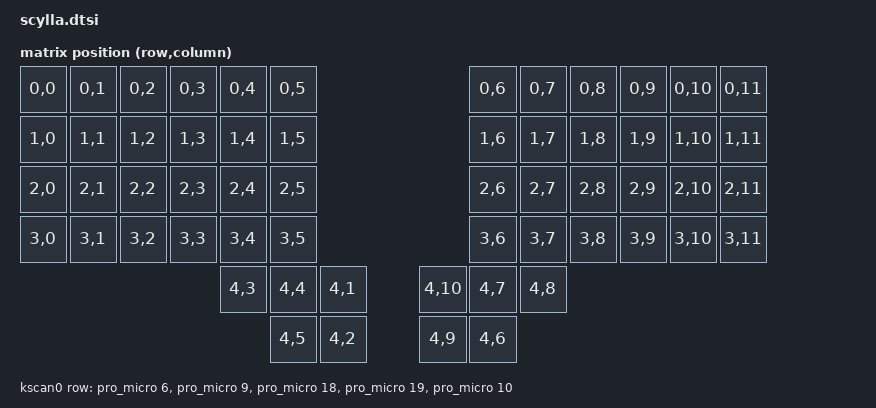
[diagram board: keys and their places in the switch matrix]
/*
 * Copyright (c) 2022 Christian Eiden
 *
 * SPDX-License-Identifier: MIT
 */

#include <dt-bindings/zmk/matrix_transform.h>
#include <physical_layouts.dtsi>

/ {

    chosen {
        zmk,kscan = &kscan0;
        zmk,physical-layout = &physical_layout0;
    };

    physical_layout0: physical_layout_0 {
        compatible = "zmk,physical-layout";
        display-name = "Scylla";

        kscan = <&kscan0>;
        transform = <&keymap_transform0>;

        keys  //                     w   h    x    y     rot    rx    ry
            = <&key_physical_attrs 100 100    0    0       0     0     0>
            , <&key_physical_attrs 100 100  100    0       0     0     0>
            , <&key_physical_attrs 100 100  200    0       0     0     0>
            , <&key_physical_attrs 100 100  300    0       0     0     0>
            , <&key_physical_attrs 100 100  400    0       0     0     0>
            , <&key_physical_attrs 100 100  500    0       0     0     0>
            , <&key_physical_attrs 100 100  900    0       0     0     0>
            , <&key_physical_attrs 100 100 1000    0       0     0     0>
            , <&key_physical_attrs 100 100 1100    0       0     0     0>
            , <&key_physical_attrs 100 100 1200    0       0     0     0>
            , <&key_physical_attrs 100 100 1300    0       0     0     0>
            , <&key_physical_attrs 100 100 1400    0       0     0     0>
            , <&key_physical_attrs 100 100    0  100       0     0     0>
            , <&key_physical_attrs 100 100  100  100       0     0     0>
            , <&key_physical_attrs 100 100  200  100       0     0     0>
            , <&key_physical_attrs 100 100  300  100       0     0     0>
            , <&key_physical_attrs 100 100  400  100       0     0     0>
            , <&key_physical_attrs 100 100  500  100       0     0     0>
            , <&key_physical_attrs 100 100  900  100       0     0     0>
            , <&key_physical_attrs 100 100 1000  100       0     0     0>
            , <&key_physical_attrs 100 100 1100  100       0     0     0>
            , <&key_physical_attrs 100 100 1200  100       0     0     0>
            , <&key_physical_attrs 100 100 1300  100       0     0     0>
            , <&key_physical_attrs 100 100 1400  100       0     0     0>
            , <&key_physical_attrs 100 100    0  200       0     0     0>
            , <&key_physical_attrs 100 100  100  200       0     0     0>
            , <&key_physical_attrs 100 100  200  200       0     0     0>
            , <&key_physical_attrs 100 100  300  200       0     0     0>
            , <&key_physical_attrs 100 100  400  200       0     0     0>
            , <&key_physical_attrs 100 100  500  200       0     0     0>
            , <&key_physical_attrs 100 100  900  200       0     0     0>
            , <&key_physical_attrs 100 100 1000  200       0     0     0>
            , <&key_physical_attrs 100 100 1100  200       0     0     0>
            , <&key_physical_attrs 100 100 1200  200       0     0     0>
            , <&key_physical_attrs 100 100 1300  200       0     0     0>
            , <&key_physical_attrs 100 100 1400  200       0     0     0>
            , <&key_physical_attrs 100 100    0  300       0     0     0>
            , <&key_physical_attrs 100 100  100  300       0     0     0>
            , <&key_physical_attrs 100 100  200  300       0     0     0>
            , <&key_physical_attrs 100 100  300  300       0     0     0>
            , <&key_physical_attrs 100 100  400  300       0     0     0>
            , <&key_physical_attrs 100 100  500  300       0     0     0>
            , <&key_physical_attrs 100 100  900  300       0     0     0>
            , <&key_physical_attrs 100 100 1000  300       0     0     0>
            , <&key_physical_attrs 100 100 1100  300       0     0     0>
            , <&key_physical_attrs 100 100 1200  300       0     0     0>
            , <&key_physical_attrs 100 100 1300  300       0     0     0>
            , <&key_physical_attrs 100 100 1400  300       0     0     0>
            , <&key_physical_attrs 100 100  400  400       0     0     0>
            , <&key_physical_attrs 100 100  500  400       0     0     0>
            , <&key_physical_attrs 100 100  600  400       0     0     0>
            , <&key_physical_attrs 100 100  800  400       0     0     0>
            , <&key_physical_attrs 100 100  900  400       0     0     0>
            , <&key_physical_attrs 100 100 1000  400       0     0     0>
            , <&key_physical_attrs 100 100  500  500       0     0     0>
            , <&key_physical_attrs 100 100  600  500       0     0     0>
            , <&key_physical_attrs 100 100  800  500       0     0     0>
            , <&key_physical_attrs 100 100  900  500       0     0     0>
            ;
    };

    keymap_transform0: keymap_transform0 {
        compatible = "zmk,matrix-transform";
        columns = <12>;
        rows = <5>;

        map = <
RC(0,0) RC(0,1) RC(0,2) RC(0,3) RC(0,4) RC(0,5)                  RC(0,6) RC(0,7) RC(0,8) RC(0,9) RC(0,10) RC(0,11)
RC(1,0) RC(1,1) RC(1,2) RC(1,3) RC(1,4) RC(1,5)                  RC(1,6) RC(1,7) RC(1,8) RC(1,9) RC(1,10) RC(1,11)
RC(2,0) RC(2,1) RC(2,2) RC(2,3) RC(2,4) RC(2,5)                  RC(2,6) RC(2,7) RC(2,8) RC(2,9) RC(2,10) RC(2,11)
RC(3,0) RC(3,1) RC(3,2) RC(3,3) RC(3,4) RC(3,5)                  RC(3,6) RC(3,7) RC(3,8) RC(3,9) RC(3,10) RC(3,11)
                                RC(4,3) RC(4,4) RC(4,1) RC(4,10) RC(4,7) RC(4,8)
                                        RC(4,5) RC(4,2) RC(4,9)  RC(4,6) 
        >;
    };

    kscan0: kscan {
        compatible = "zmk,kscan-gpio-matrix";
        label = "KSCAN";

        diode-direction = "row2col";
        row-gpios
            = <&pro_micro 6  (GPIO_ACTIVE_HIGH)>
            , <&pro_micro 9  (GPIO_ACTIVE_HIGH)>
            , <&pro_micro 18 (GPIO_ACTIVE_HIGH)>
            , <&pro_micro 19 (GPIO_ACTIVE_HIGH)>
            , <&pro_micro 10 (GPIO_ACTIVE_HIGH)>
            ;
        
    };
};


